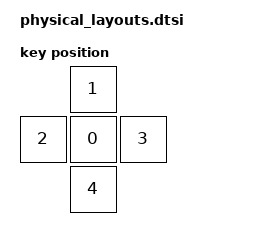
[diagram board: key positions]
/ {
    chosen {
        hontonopage_physical_layout: hontonopage_physical_layout {
            compatible = "zmk,physical-layout";
            display-name = "default_layout";
            kscan = <&kscan0>;
            transform = <&matrix_transform0>;

            keys  //                     w   h    x    y     rot    rx    ry
                = <&key_physical_attrs 100 100  100  100       0     0     0>
                , <&key_physical_attrs 100 100  100    0       0     0     0>
                , <&key_physical_attrs 100 100    0  100       0     0     0>
                , <&key_physical_attrs 100 100  200  100       0     0     0>
                , <&key_physical_attrs 100 100  100  200       0     0     0>
                ;
        };
    };

    position_map {
        compatible = "zmk,physical-layout-position-map";

        hontonopage_physical_layout {
            physical-layout = <&hontonopage_physical_layout>;
            positions = <>;
        };
    };
};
